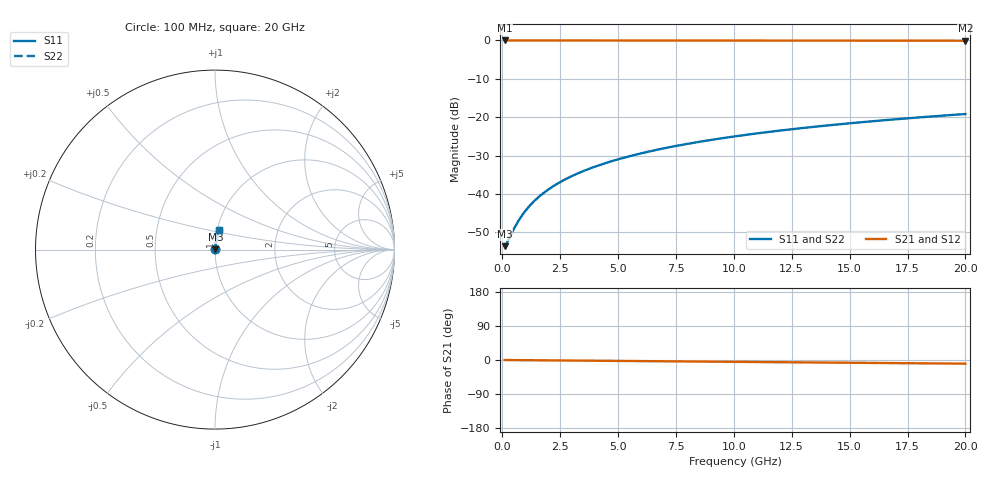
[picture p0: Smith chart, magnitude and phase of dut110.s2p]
! Touchstone file exported from HFSS 2026.1.0
!  File:  C:/ffzhzh/LocalFiles/Ansys_Project_Files/temp_train_TSV_110_1782989670_6248.aedt
!  Generated:  06:57:29 PM Jul  2, 2026
!  Design:  TSV
!  Project:  temp_train_TSV_110_1782989670_6248
! Variables:
!  h_bsmrdl = 2um
!  h_ox = 20um
!  h_rdl = 5um
!  h_sub = 72.1um
!  h_tmrdl = 5um
!  h_tsv = 72.1um
!  h_via = 3um
!  l_bsmrdl = 300um
!  l_sub = 404.06um
!  l_tmrdl = 200um
!  m_sub = 200um
!  pitch = 33.27um
!  r_tsv = 2.03um
!  s_tmrdl = 10um
!  w_bsmrdl = 18um
!  w_sub = 500um
!  w_tmrdl = 12um
!  x_tsv_center1 = 206um
!  x_tsv_center2 = 524um
!  x_tsv_center3 = 736um
!  x_tsv_center4 = 1054um
!  x_tsv_center5 = 1266um
!  x_tsv_center6 = 1584um
# GHz S MA R 50.000000
! Terminal data exported
! Port[1] = TSV1_1_T1
! Port[2] = TSV1_1_T2
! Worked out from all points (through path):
!   200 points, 100 MHz to 20 GHz, reference 50 ohm
!   highest |S21| = -0.02 dB at 100 MHz (marker M1); lowest = -0.1 dB at 20 GHz (marker M2)
!   group delay of S21, straight-line fit = 1.34 ps
!   lowest |S11| = -53.6 dB at 100 MHz (marker M3), VSWR 1.00, Z = 50.2 + j0.0573 ohm
!   |S11| at or under -10 dB: start of sweep to end of sweep
!   |S22| runs from -53.6 to -19.2 dB; largest |S21 - S12| = 3.5e-15
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0.1  0.002091 15.8  0.998 -0.0  0.998 -0.0  0.002091 15.8
! Gamma 0 0 0 0
! Port Impedance 50 0 50 0
0.2  0.002316 29.5  0.998 -0.1  0.998 -0.1  0.002316 29.5
0.5  0.0035 54.3  0.998 -0.2  0.998 -0.2  0.0035 54.3
0.6  0.003979 59.0  0.998 -0.3  0.998 -0.3  0.003979 59.0
0.8  0.00499 65.4  0.9979 -0.4  0.9979 -0.4  0.00499 65.4
0.9  0.005512 67.7  0.9979 -0.4  0.9979 -0.4  0.005512 67.7
1.1  0.006576 71.2  0.9979 -0.5  0.9979 -0.5  0.006576 71.2
1.4  0.008202 74.6  0.9979 -0.7  0.9979 -0.7  0.008202 74.6
1.8  0.0104 77.5  0.9979 -0.9  0.9979 -0.9  0.0104 77.5
2.3  0.01317 79.6  0.9978 -1.1  0.9978 -1.1  0.01317 79.6
2.9  0.01652 81.1  0.9977 -1.4  0.9977 -1.4  0.01652 81.1
3.5  0.01987 82.0  0.9976 -1.7  0.9976 -1.7  0.01987 82.0
4.2  0.02379 82.6  0.9975 -2.1  0.9975 -2.1  0.02379 82.6
5  0.02827 82.9  0.9973 -2.4  0.9973 -2.4  0.02827 82.9
5.9  0.03329 83.0  0.9971 -2.9  0.9971 -2.9  0.03329 83.0
6.8  0.03831 83.0  0.9968 -3.3  0.9968 -3.3  0.03831 83.0
8.3  0.04664 82.7  0.9963 -4.1  0.9963 -4.1  0.04664 82.7
10.1  0.05658 82.2  0.9955 -4.9  0.9955 -4.9  0.05658 82.2
11.7  0.06536 81.6  0.9948 -5.7  0.9948 -5.7  0.06536 81.6
13.4  0.07462 80.9  0.9939 -6.5  0.9939 -6.5  0.07462 80.9
16.7  0.09241 79.6  0.992 -8.1  0.992 -8.1  0.09241 79.6
20  0.11 78.2  0.9898 -9.6  0.9898 -9.6  0.11 78.2
